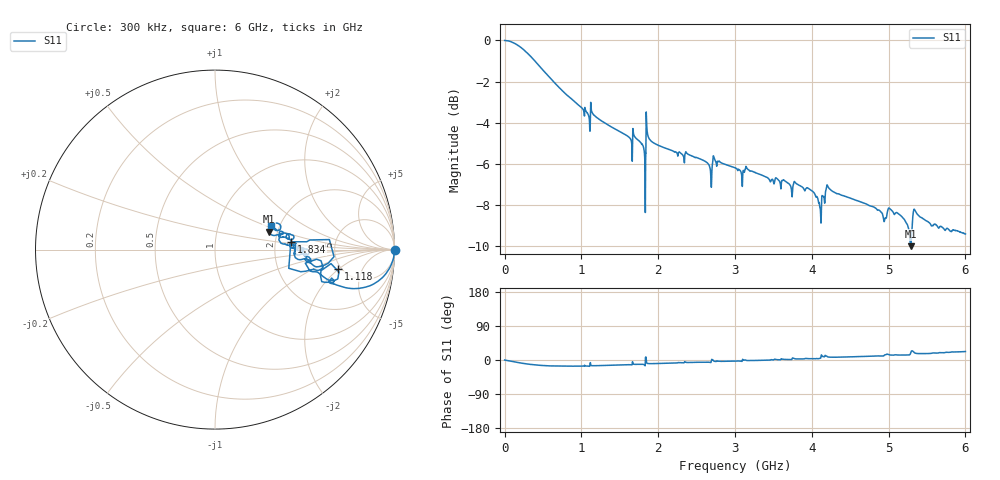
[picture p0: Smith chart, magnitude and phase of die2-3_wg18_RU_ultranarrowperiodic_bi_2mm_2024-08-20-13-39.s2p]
!Keysight Technologies,P9374A,MY57304198,A.17.20.09
!Date: Tuesday, August 20, 2024 13:39:48
!Correction: S11(C  1-Port  )
!S21(C  1-Port  )
!S12(Off)
!S22(Off)
!S2P File: Measurements: S11, S21, S12, S22:
# Hz S  dB  R 50
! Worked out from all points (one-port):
!   6000 points, 300 kHz to 6 GHz, reference 50 ohm
!   lowest |S11| = -10.0 dB at 5.288 GHz (marker M1), VSWR 1.93, Z = 89.9 + j20.1 ohm
!   |S11| at or under -10 dB: nowhere
!   S11 on the Smith chart (normalised r, x): 300 kHz: open; 1.118 GHz: 4.73, -1.95; 1.834 GHz: 2.45, +0.26; 6 GHz: 1.81, +0.53
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300000  0.00 -0.0  -200.00 45.0  -200.00 45.0  -200.00 45.0
2.283266e8  -0.39 -8.5  -200.00 45.0  -200.00 45.0  -200.00 45.0
4.093477e8  -1.06 -13.2  -200.00 45.0  -200.00 45.0  -200.00 45.0
1.000417e9  -3.26 -16.1  -200.00 45.0  -200.00 45.0  -200.00 45.0
1.11843e9  -3.15 -8.8  -200.00 45.0  -200.00 45.0  -200.00 45.0
1.696498e9  -4.69 -11.5  -200.00 45.0  -200.00 45.0  -200.00 45.0
1.80051e9  -5.11 -11.5  -200.00 45.0  -200.00 45.0  -200.00 45.0
1.833514e9  -7.43 5.9  -200.00 45.0  -200.00 45.0  -200.00 45.0
1.871518e9  -4.69 -9.4  -200.00 45.0  -200.00 45.0  -200.00 45.0
2.000533e9  -5.09 -9.2  -200.00 45.0  -200.00 45.0  -200.00 45.0
2.65861e9  -6.04 -5.9  -200.00 45.0  -200.00 45.0  -200.00 45.0
2.719617e9  -5.61 -1.9  -200.00 45.0  -200.00 45.0  -200.00 45.0
3.00065e9  -6.19 -2.9  -200.00 45.0  -200.00 45.0  -200.00 45.0
4.000767e9  -7.30 3.4  -200.00 45.0  -200.00 45.0  -200.00 45.0
4.088777e9  -7.89 3.9  -200.00 45.0  -200.00 45.0  -200.00 45.0
4.152784e9  -7.60 8.9  -200.00 45.0  -200.00 45.0  -200.00 45.0
4.220792e9  -7.17 7.7  -200.00 45.0  -200.00 45.0  -200.00 45.0
5.000883e9  -8.15 14.3  -200.00 45.0  -200.00 45.0  -200.00 45.0
5.250913e9  -9.01 13.3  -200.00 45.0  -200.00 45.0  -200.00 45.0
5.287917e9  -10.00 18.6  -200.00 45.0  -200.00 45.0  -200.00 45.0
5.348924e9  -8.30 18.0  -200.00 45.0  -200.00 45.0  -200.00 45.0
6e9  -9.41 22.4  -200.00 45.0  -200.00 45.0  -200.00 45.0
